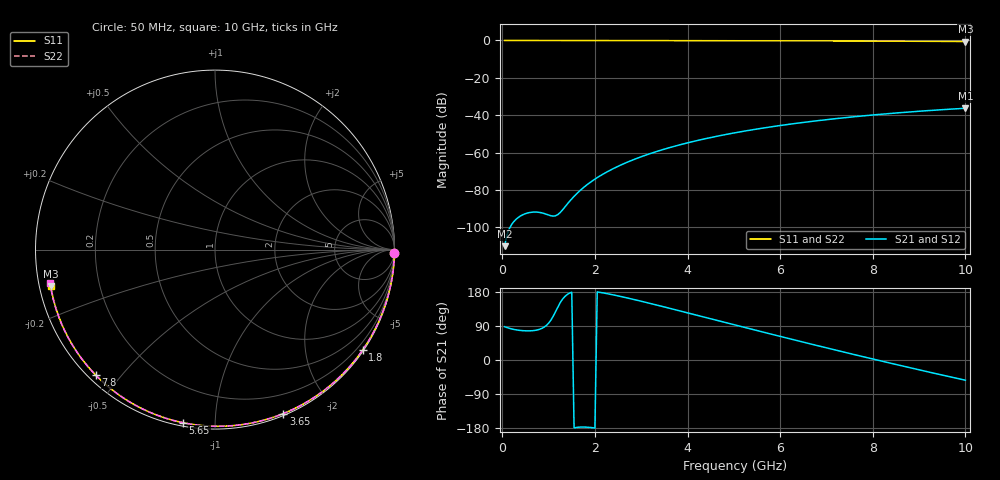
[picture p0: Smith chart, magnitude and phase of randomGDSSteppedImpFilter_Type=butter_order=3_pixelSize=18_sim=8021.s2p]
! freq	dB(S11)	phase(S11)	dB(S12)	phase(S12)
!  dB(S21)	phase(S21)	dB(S22)	phase(S22)
!S-par simulation data
#  GHz  S  DB  R 50
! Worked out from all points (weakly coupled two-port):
!   200 points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, 50 MHz to 10 GHz, reference 50 ohm
!   highest |S21| = -36.29 dB at 10 GHz (marker M1); lowest = -110.1 dB at 50 MHz (marker M2)
!   lowest |S11| = -0.6 dB at 10 GHz (marker M3), VSWR 30.90, Z = 1.64 - j5.48 ohm
!   |S11| at or under -10 dB: nowhere
!   |S22| runs from -0.6 to 0.0 dB; largest |S21 - S12| = 0
!   S11 on the Smith chart (normalised r, x): 50 MHz: open; 1.8 GHz: 0.03, -3.25; 3.65 GHz: 0.02, -1.50; 5.65 GHz: 0.02, -0.83; 7.8 GHz: 0.02, -0.43; 10 GHz: 0.03, -0.11
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0.05  -0.00 -1.0  -110.07 87.7  -110.07 87.7  -0.00 -1.0
0.45  -0.01 -8.7  -93.17 77.3  -93.17 77.3  -0.01 -8.7
0.85  -0.02 -16.4  -92.23 83.1  -92.23 83.1  -0.02 -16.3
1.65  -0.04 -31.4  -80.97 -177.3  -80.97 -177.3  -0.04 -31.4
1.7  -0.04 -32.4  -79.85 -176.9  -79.85 -176.9  -0.04 -32.3
1.75  -0.04 -33.3  -78.79 -176.9  -78.79 -176.9  -0.04 -33.3
1.8  -0.04 -34.2  -77.78 -177.1  -77.78 -177.1  -0.04 -34.2
2.1  -0.05 -39.8  -72.63 178.7  -72.63 178.7  -0.05 -39.7
2.3  -0.06 -43.4  -69.81 174.3  -69.81 174.3  -0.06 -43.4
2.5  -0.06 -47.1  -67.33 169.2  -67.33 169.2  -0.06 -47.0
2.9  -0.07 -54.3  -63.14 158.0  -63.14 158.0  -0.07 -54.2
3.4  -0.08 -63.1  -58.89 143.0  -58.89 143.0  -0.08 -63.0
3.65  -0.09 -67.4  -57.07 135.3  -57.07 135.3  -0.09 -67.4
4.3  -0.11 -78.4  -53.03 115.1  -53.03 115.1  -0.11 -78.4
5.05  -0.14 -90.8  -49.28 91.6  -49.28 91.6  -0.14 -90.8
5.65  -0.17 -100.4  -46.80 73.1  -46.80 73.1  -0.17 -100.4
6.15  -0.19 -108.2  -45.00 57.7  -45.00 57.7  -0.19 -108.3
6.7  -0.23 -116.7  -43.25 41.1  -43.25 41.1  -0.23 -116.9
7.8  -0.31 -133.5  -40.34 8.4  -40.34 8.4  -0.31 -133.8
8.35  -0.36 -141.8  -39.13 -7.5  -39.13 -7.5  -0.36 -142.3
9.2  -0.46 -154.8  -37.53 -31.5  -37.53 -31.5  -0.45 -155.5
10  -0.56 -167.5  -36.29 -53.4  -36.29 -53.4  -0.56 -168.5
